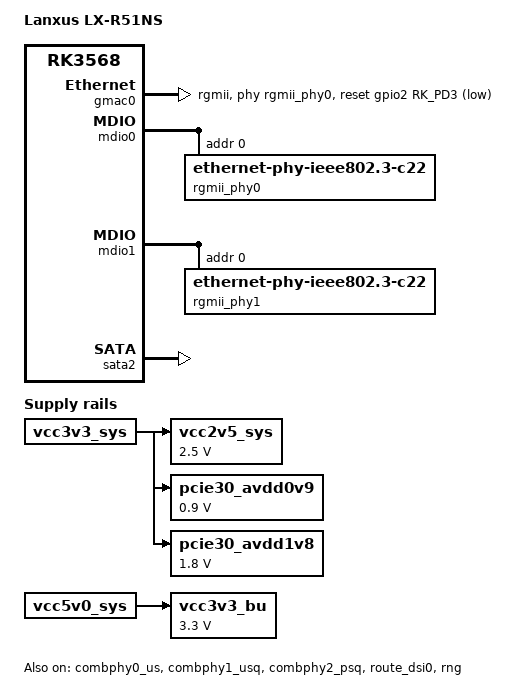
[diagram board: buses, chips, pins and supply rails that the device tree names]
// SPDX-License-Identifier: (GPL-2.0+ OR MIT)
/*
 * Copyright (c) 2020 Rockchip Electronics Co., Ltd.
 *
 */

/dts-v1/;

#include <dt-bindings/gpio/gpio.h>
#include <dt-bindings/pinctrl/rockchip.h>
#include "rk3568.dtsi"
#include "rk3568-evb.dtsi"

/ {
	model = "Lanxus LX-R51NS";
	compatible = "lanxus lx-R51ns", "rockchip,rk3568";

	aliases {
		mmc0 = &sdhci;
	};

	chosen: chosen {
		bootargs = "earlycon=uart8250,mmio32,0xfe660000 console=ttyFIQ0 root=PARTUUID=614e0000-0000 rw rootwait";
	};

	vcc2v5_sys: vcc2v5-ddr {
		compatible = "regulator-fixed";
		regulator-name = "vcc2v5-sys";
		regulator-always-on;
		regulator-boot-on;
		regulator-min-microvolt = <2500000>;
		regulator-max-microvolt = <2500000>;
		vin-supply = <&vcc3v3_sys>;
	};

	vcc3v3_vga: vcc3v3-vga {
		compatible = "regulator-fixed";
		regulator-name = "vcc3v3_vga";
		regulator-always-on;
		regulator-boot-on;
		gpio = <&gpio0 RK_PD5 GPIO_ACTIVE_HIGH>;
		enable-active-high;
		status = "disabled";
		vin-supply = <&vcc3v3_sys>;
	};

	pcie30_avdd0v9: pcie30-avdd0v9 {
		compatible = "regulator-fixed";
		regulator-name = "pcie30_avdd0v9";
		regulator-always-on;
		regulator-boot-on;
		regulator-min-microvolt = <900000>;
		regulator-max-microvolt = <900000>;
		vin-supply = <&vcc3v3_sys>;
	};

	pcie30_avdd1v8: pcie30-avdd1v8 {
		compatible = "regulator-fixed";
		regulator-name = "pcie30_avdd1v8";
		regulator-always-on;
		regulator-boot-on;
		regulator-min-microvolt = <1800000>;
		regulator-max-microvolt = <1800000>;
		vin-supply = <&vcc3v3_sys>;
	};

	vcc3v3_pcie: gpio-regulator {
		compatible = "regulator-fixed";
		regulator-name = "vcc3v3_pcie";
		regulator-min-microvolt = <3300000>;
		regulator-max-microvolt = <3300000>;
		enable-active-high;
		gpio = <&gpio0 RK_PD4 GPIO_ACTIVE_HIGH>;
		startup-delay-us = <5000>;
		status = "disabled";
		vin-supply = <&dc_12v>;
	};

	vcc3v3_bu: vcc3v3-bu {
		compatible = "regulator-fixed";
		regulator-name = "vcc3v3_bu";
		regulator-always-on;
		regulator-boot-on;
		regulator-min-microvolt = <3300000>;
		regulator-max-microvolt = <3300000>;
		vin-supply = <&vcc5v0_sys>;
	};

	fiq-debugger {
		compatible = "rockchip,fiq-debugger";
		rockchip,serial-id = <2>;
		rockchip,wake-irq = <0>;
		/* If enable uart uses irq instead of fiq */
		rockchip,irq-mode-enable = <1>;
		rockchip,baudrate = <1500000>;  /* Only 115200 and 1500000 */
		interrupts = <GIC_SPI 252 IRQ_TYPE_LEVEL_LOW>;
		pinctrl-names = "default";
		pinctrl-0 = <&uart2m0_xfer>;
		status = "okay";
	};

	debug: debug@fd904000 {
		compatible = "rockchip,debug";
		reg = <0x0 0xfd904000 0x0 0x1000>,
			<0x0 0xfd905000 0x0 0x1000>,
			<0x0 0xfd906000 0x0 0x1000>,
			<0x0 0xfd907000 0x0 0x1000>;
	};

	cspmu: cspmu@fd90c000 {
		compatible = "rockchip,cspmu";
		reg = <0x0 0xfd90c000 0x0 0x1000>,
			<0x0 0xfd90d000 0x0 0x1000>,
			<0x0 0xfd90e000 0x0 0x1000>,
			<0x0 0xfd90f000 0x0 0x1000>;
	};
};

&reserved_memory {
	ramoops: ramoops@110000 {
		compatible = "ramoops";
		reg = <0x0 0x110000 0x0 0xf0000>;
		record-size = <0x20000>;
		console-size = <0x80000>;
		ftrace-size = <0x00000>;
		pmsg-size = <0x50000>;
	};
};

&sdmmc0 {
	status = "disabled";
};

&combphy0_us {
	status = "okay";
};

&combphy1_usq {
	status = "okay";
};

&combphy2_psq {
	status = "okay";
};

&dsi0_panel {
	status = "disabled";
};

&dsi1_panel {
	status = "disabled";
};

&gmac0 {
	phy-mode = "rgmii";
	clock_in_out = "output";

	snps,reset-gpio = <&gpio2 RK_PD3 GPIO_ACTIVE_LOW>;
	snps,reset-active-low;
	/* Reset time is 20ms, 100ms for rtl8211f */
	snps,reset-delays-us = <0 20000 100000>;

	assigned-clocks = <&cru SCLK_GMAC0_RX_TX>, <&cru SCLK_GMAC0>;
	assigned-clock-parents = <&cru SCLK_GMAC0_RGMII_SPEED>, <&cru CLK_MAC0_2TOP>;
	assigned-clock-rates = <0>, <125000000>;

	pinctrl-names = "default";
	pinctrl-0 = <&gmac0_miim
		     &gmac0_tx_bus2
		     &gmac0_rx_bus2
		     &gmac0_rgmii_clk
		     &gmac0_rgmii_bus>;

	tx_delay = <0x3c>;
	rx_delay = <0x2f>;

	phy-handle = <&rgmii_phy0>;
	status = "okay";
};

&mdio0 {
	rgmii_phy0: phy@0 {
		compatible = "ethernet-phy-ieee802.3-c22";
		reg = <0x0>;
	};
};

&mdio1 {
	rgmii_phy1: phy@0 {
		compatible = "ethernet-phy-ieee802.3-c22";
		reg = <0x0>;
	};
};

&pinctrl {
	headphone {
		hp_det: hp-det {
			rockchip,pins = <3 RK_PC2 RK_FUNC_GPIO &pcfg_pull_down>;
		};
	};

	wireless-wlan {
		wifi_host_wake_irq: wifi-host-wake-irq {
			rockchip,pins = <3 RK_PD4 RK_FUNC_GPIO &pcfg_pull_down>;
		};
	};

	wireless-bluetooth {
		uart8_gpios: uart8-gpios {
			rockchip,pins = <2 RK_PB1 RK_FUNC_GPIO &pcfg_pull_none>;
		};
	};
};

&route_dsi0 {
	status = "okay";
	connect = <&vp1_out_dsi0>;
};

&sata2 {
	status = "okay";
};

&vcc3v3_lcd0_n {
	status = "disabled";
};

&vcc3v3_lcd1_n {
	status = "disabled";
};

&wireless_wlan {
	status = "disabled";
};

&wireless_bluetooth {
	status = "disabled";
};

&rng {
	status = "okay";
};

&rockchip_suspend {
	status = "okay";
};

&vop {
	disable-win-move;
};
